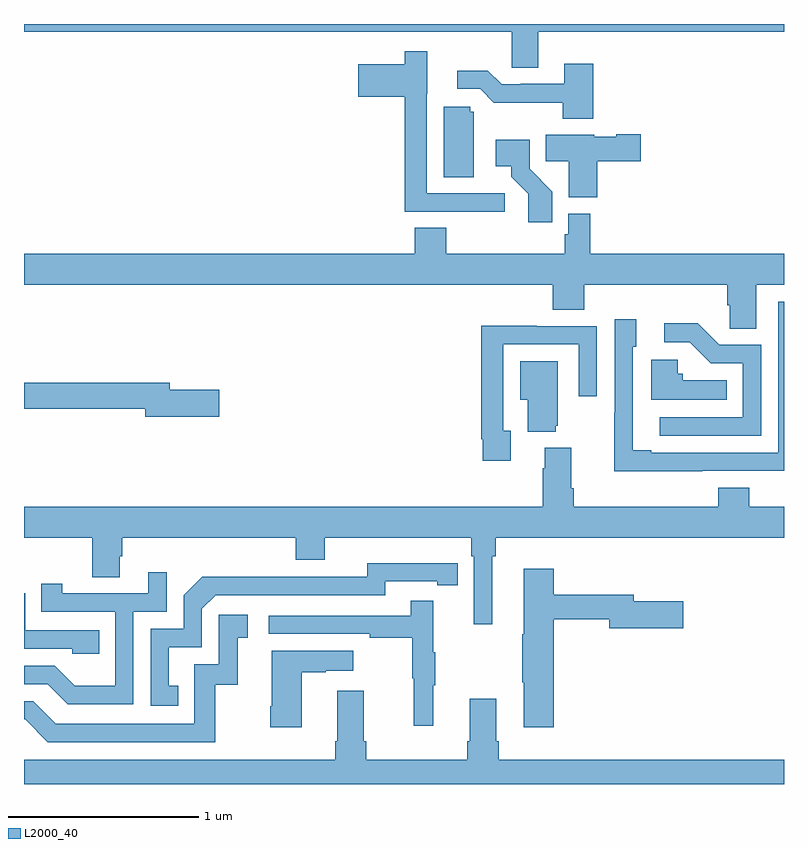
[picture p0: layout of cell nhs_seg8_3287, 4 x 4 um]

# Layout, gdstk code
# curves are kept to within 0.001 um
import gdstk
lib = gdstk.Library(unit=1e-6, precision=1e-09)
def P(c, l, *ps):  # polygons
    for p in ps: c.add(gdstk.Polygon(p, *l))
L2000_40 = (2000, 40)

nhs_seg8_3287 = lib.new_cell('nhs_seg8_3287')
P(nhs_seg8_3287, L2000_40, [(317.707,1089.86),(319,1089.86),(319,1089.9),(315,1089.9),(315,1089.86),(317.568,1089.86),(317.568,1089.67),(317.707,1089.67)],
  [(317.53,1089.009),(317.121,1089.009),(317.121,1089.534),(317.122,1089.534),(317.122,1089.757),(317.005,1089.757),(317.005,1089.688),(316.758,1089.688),(316.758,1089.518),(317.005,1089.518),(317.005,1088.913),(317.305,1088.913),(317.305,1088.911),(317.53,1088.911)],
  [(317.996,1089.691),(317.843,1089.691),(317.843,1089.585),(317.614,1089.585),(317.614,1089.582),(317.514,1089.582),(317.441,1089.655),(317.28,1089.655),(317.28,1089.558),(317.4,1089.558),(317.473,1089.485),(317.836,1089.486),(317.836,1089.401),(317.996,1089.401)],
  [(317.368,1089.438),(317.349,1089.438),(317.349,1089.465),(317.21,1089.465),(317.21,1089.094),(317.368,1089.094)],
  [(318.017,1089.178),(318.247,1089.178),(318.247,1089.32),(318.117,1089.32),(318.117,1089.307),(318,1089.307),(318,1089.316),(317.746,1089.316),(317.746,1089.178),(317.867,1089.178),(317.867,1088.987),(318.017,1088.987)],
  [(317.78,1089.018),(317.661,1089.137),(317.661,1089.292),(317.484,1089.292),(317.484,1089.152),(317.564,1089.152),(317.564,1089.097),(317.655,1089.007),(317.655,1088.856),(317.78,1088.856)],
  [(318.853,1088.528),(319,1088.528),(319,1088.692),(317.981,1088.692),(317.981,1088.902),(317.865,1088.902),(317.865,1088.793),(317.845,1088.793),(317.845,1088.692),(317.222,1088.692),(317.222,1088.828),(317.057,1088.828),(317.057,1088.692),(315,1088.692),(315,1088.528),(317.783,1088.528),(317.783,1088.395),(317.948,1088.395),(317.948,1088.528),(318.701,1088.528),(318.701,1088.419),(318.714,1088.419),(318.714,1088.296),(318.853,1088.296)],
  [(318.569,1087.548),(319,1087.548),(319,1088.439),(318.969,1088.439),(318.969,1087.644),(318.301,1087.644),(318.301,1087.657),(318.204,1087.657),(318.204,1088.202),(318.223,1088.202),(318.223,1088.347),(318.108,1088.347),(318.108,1087.853),(318.106,1087.853),(318.106,1087.547),(318.569,1087.547)],
  [(318.879,1088.211),(318.66,1088.211),(318.547,1088.324),(318.369,1088.324),(318.369,1088.226),(318.503,1088.226),(318.614,1088.115),(318.783,1088.115),(318.783,1087.83),(318.345,1087.83),(318.345,1087.734),(318.879,1087.734)],
  [(317.563,1087.758),(317.523,1087.758),(317.523,1088.214),(317.919,1088.214),(317.919,1087.941),(318.015,1087.941),(318.015,1088.31),(317.699,1088.31),(317.699,1088.312),(317.407,1088.312),(317.407,1087.714),(317.415,1087.714),(317.415,1087.602),(317.563,1087.602)],
  [(318.698,1088.026),(318.468,1088.026),(318.468,1088.058),(318.441,1088.058),(318.441,1088.134),(318.302,1088.134),(318.302,1087.922),(318.698,1087.922)],
  [(317.798,1087.785),(317.809,1087.785),(317.809,1088.125),(317.612,1088.125),(317.612,1087.922),(317.651,1087.922),(317.651,1087.754),(317.798,1087.754)],
  [(316.027,1087.976),(315.766,1087.976),(315.766,1088.012),(315,1088.012),(315,1087.876),(315.638,1087.876),(315.638,1087.834),(316.027,1087.834)],
  [(317.464,1087.1),(317.483,1087.1),(317.483,1087.196),(319,1087.196),(319,1087.36),(318.818,1087.36),(318.818,1087.459),(318.653,1087.459),(318.653,1087.36),(317.894,1087.36),(317.894,1087.456),(317.881,1087.456),(317.881,1087.669),(317.741,1087.669),(317.741,1087.562),(317.729,1087.562),(317.729,1087.36),(315,1087.36),(315,1087.196),(315.358,1087.196),(315.358,1086.988),(315.505,1086.988),(315.505,1087.098),(315.518,1087.098),(315.518,1087.196),(316.43,1087.196),(316.43,1087.079),(316.582,1087.079),(316.582,1087.196),(317.354,1087.196),(317.354,1087.1),(317.367,1087.1),(317.367,1086.741),(317.464,1086.741)],
  [(315.812,1086.417),(315.763,1086.417),(315.763,1086.621),(315.936,1086.621),(315.936,1086.822),(316.008,1086.894),(316.902,1086.894),(316.902,1086.966),(317.174,1086.966),(317.174,1086.946),(317.282,1086.946),(317.282,1087.062),(316.806,1087.063),(316.806,1086.99),(316.346,1086.99),(316.346,1086.992),(315.938,1086.992),(315.84,1086.894),(315.84,1086.717),(315.666,1086.717),(315.666,1086.312),(315.812,1086.312)],
  [(317.789,1086.766),(318.08,1086.766),(318.08,1086.719),(318.469,1086.719),(318.469,1086.861),(318.208,1086.861),(318.208,1086.895),(317.789,1086.895),(317.789,1087.033),(317.63,1087.033),(317.63,1086.689),(317.623,1086.689),(317.623,1086.436),(317.63,1086.436),(317.63,1086.198),(317.789,1086.198)],
  [(315.576,1086.807),(315.75,1086.807),(315.75,1087.015),(315.653,1087.015),(315.653,1086.903),(315.202,1086.903),(315.202,1086.955),(315.091,1086.955),(315.091,1086.807),(315.48,1086.807),(315.48,1086.418),(315.266,1086.418),(315.162,1086.522),(315,1086.522),(315,1086.426),(315.125,1086.426),(315.23,1086.321),(315.576,1086.321)],
  [(315.395,1086.708),(315.006,1086.708),(315.006,1086.903),(315,1086.903),(315,1086.612),(315.255,1086.612),(315.255,1086.585),(315.395,1086.585)],
  [(317.153,1086.419),(317.164,1086.419),(317.164,1086.593),(317.153,1086.593),(317.153,1086.865),(317.035,1086.865),(317.035,1086.786),(316.287,1086.786),(316.287,1086.69),(316.819,1086.69),(316.819,1086.67),(317.043,1086.67),(317.043,1086.456),(317.05,1086.456),(317.05,1086.207),(317.153,1086.207)],
  [(316.006,1086.423),(316.124,1086.423),(316.124,1086.669),(316.177,1086.669),(316.177,1086.79),(316.026,1086.79),(316.026,1086.531),(315.897,1086.531),(315.897,1086.216),(315.168,1086.216),(315.048,1086.336),(315,1086.336),(315,1086.24),(315.006,1086.24),(315.126,1086.12),(316.006,1086.12)],
  [(316.462,1086.487),(316.589,1086.487),(316.589,1086.497),(316.732,1086.497),(316.732,1086.601),(316.304,1086.601),(316.304,1086.31),(316.297,1086.31),(316.297,1086.198),(316.462,1086.198)],
  [(319,1086.028),(317.498,1086.028),(317.498,1086.124),(317.485,1086.124),(317.485,1086.349),(317.345,1086.349),(317.345,1086.124),(317.333,1086.124),(317.333,1086.028),(316.802,1086.028),(316.802,1086.124),(316.789,1086.124),(316.789,1086.391),(316.649,1086.391),(316.649,1086.124),(316.637,1086.124),(316.637,1086.028),(315,1086.028),(315,1085.9),(319,1085.9)])

lib.write_gds('nhs_seg8_3287.gds')
